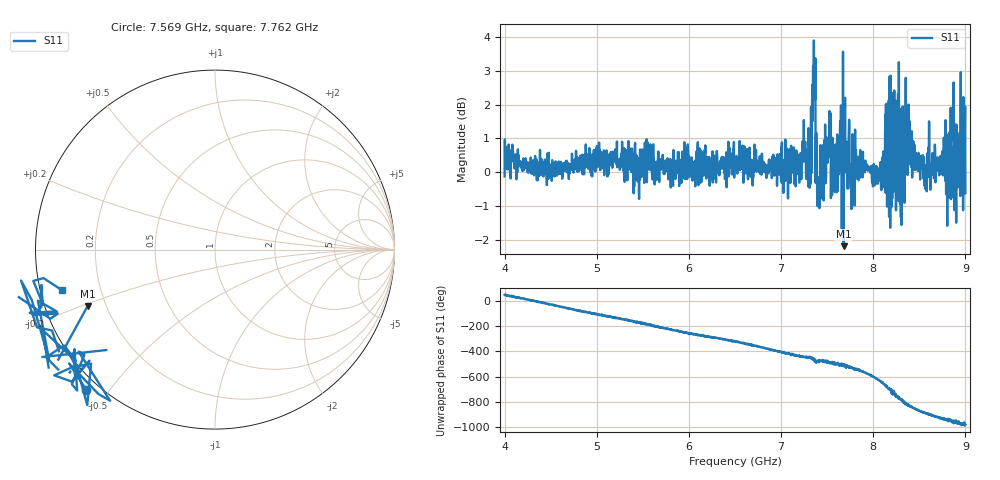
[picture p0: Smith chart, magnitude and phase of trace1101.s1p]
! Created with skrf 1.8.0 (http://scikit-rf.org).
# Hz S RI R 50.0
!freq ReS11 ImS11
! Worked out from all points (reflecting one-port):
!   1601 points, 4 GHz to 9 GHz, reference 50 ohm
!   lowest |S11| = -2.2 dB at 7.678 GHz (marker M1), VSWR 7.98, Z = 6.55 - j10.4 ohm
!   phase of S11 starts at 52 deg and turns -1037 deg over the sweep
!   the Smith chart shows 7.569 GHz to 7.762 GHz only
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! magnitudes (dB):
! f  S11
! 4 GHz  -0.1
! 4.069 GHz  0.5
! 4.625 GHz  -0.2
! 5.25 GHz  0.1
! 5.875 GHz  0.3
! 6.5 GHz  0.4
! 7.125 GHz  0.6
! 7.297 GHz  1.3
! 7.347 GHz  3.1
! 7.362 GHz  3.1
! 7.4 GHz  -0.2
! 7.416 GHz  -1.1
! 7.512 GHz  0.4
! 7.603 GHz  -0.6
! 7.678 GHz  -2.2
! 7.75 GHz  -0.1
! 8.066 GHz  0.1
! 8.156 GHz  2.0
! 8.197 GHz  -1.0
! 8.259 GHz  2.0
! 8.312 GHz  1.3
! 8.334 GHz  0.9
! 8.375 GHz  0.8
! 8.425 GHz  0.2
! 8.556 GHz  -0.4
! 8.844 GHz  -0.8
! 8.972 GHz  0.6
! 9 GHz  -0.6
